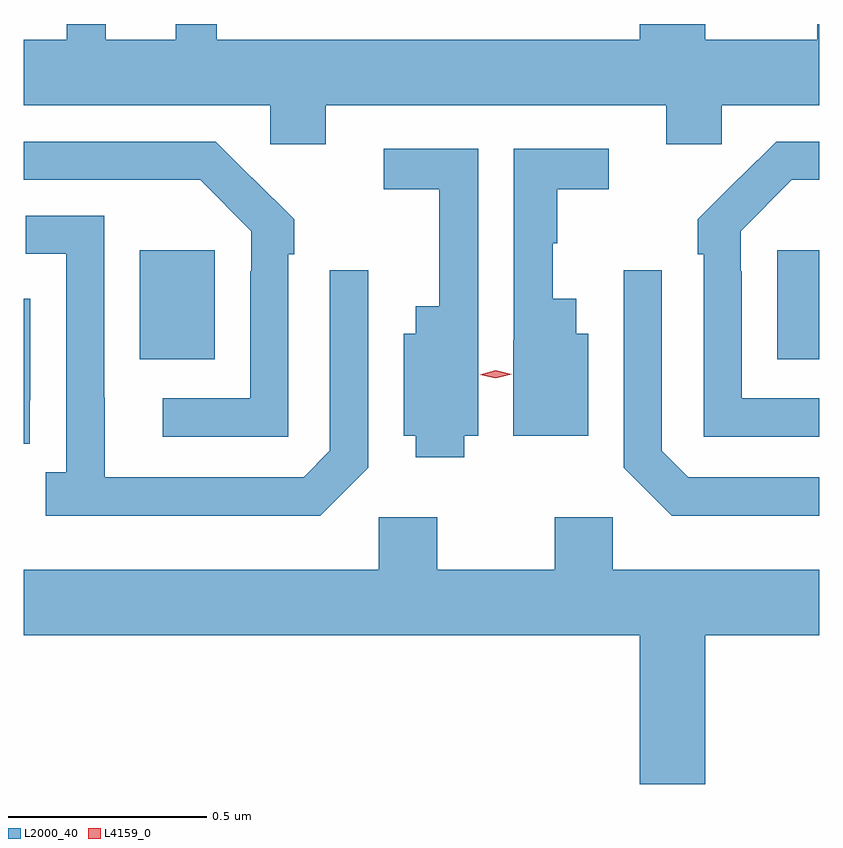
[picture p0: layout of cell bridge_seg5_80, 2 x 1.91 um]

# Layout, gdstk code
import gdstk
lib = gdstk.Library(unit=1e-6, precision=1e-09)
def R(c, l, rs):  # rectangles x0, y0, x1, y1
    for r in rs: c.add(gdstk.rectangle(r[:2], r[2:], *l))
def P(c, l, *ps):  # polygons
    for p in ps: c.add(gdstk.Polygon(p, *l))
L2000_40 = (2000, 40)
L4159_0 = (4159, 0)

bridge_seg5_80 = lib.new_cell('bridge_seg5_80')
R(bridge_seg5_80, L2000_40, [(127.787,906.737,127.975,907.012), (129.389,906.737,129.495,907.012)])
P(bridge_seg5_80, L2000_40, [(128.254,907.376),(129.11,907.376),(129.11,907.278),(129.249,907.278),(129.249,907.376),(129.495,907.376),(129.495,907.58),(129.49,907.58),(129.49,907.54),(129.208,907.54),(129.208,907.58),(129.044,907.58),(129.044,907.54),(127.981,907.54),(127.981,907.58),(127.877,907.58),(127.877,907.54),(127.702,907.54),(127.702,907.58),(127.604,907.58),(127.604,907.54),(127.495,907.54),(127.495,907.376),(128.115,907.376),(128.115,907.278),(128.254,907.278)],
  [(128.16,907.001),(128.175,907.001),(128.175,907.089),(128.07,907.194),(128.069,907.193),(127.978,907.284),(127.495,907.284),(127.495,907.188),(127.939,907.188),(128.067,907.059),(128.067,906.959),(128.064,906.959),(128.064,906.639),(127.845,906.639),(127.845,906.543),(128.16,906.543)],
  [(129.495,906.639),(129.3,906.639),(129.3,906.959),(129.297,906.959),(129.297,907.059),(129.426,907.188),(129.495,907.188),(129.495,907.284),(129.386,907.284),(129.295,907.193),(129.294,907.194),(129.189,907.089),(129.189,907.001),(129.204,907.001),(129.204,906.543),(129.495,906.543)],
  [(128.602,906.545),(128.638,906.545),(128.638,906.767),(128.637,906.767),(128.637,907.266),(128.4,907.266),(128.4,907.165),(128.54,907.165),(128.54,906.871),(128.48,906.871),(128.48,906.802),(128.45,906.802),(128.45,906.545),(128.48,906.545),(128.48,906.491),(128.602,906.491)],
  [(128.914,906.802),(128.884,906.802),(128.884,906.889),(128.825,906.889),(128.825,907.029),(128.836,907.029),(128.836,907.165),(128.965,907.165),(128.965,907.266),(128.727,907.266),(128.727,906.785),(128.726,906.785),(128.726,906.545),(128.914,906.545)],
  [(128.361,906.465),(128.361,906.961),(128.265,906.961),(128.265,906.507),(128.199,906.441),(127.699,906.441),(127.699,906.641),(127.698,906.641),(127.698,907.098),(127.5,907.098),(127.5,907.002),(127.602,907.002),(127.602,906.454),(127.551,906.454),(127.551,906.344),(128.24,906.344)],
  [(129.495,906.441),(129.165,906.441),(129.099,906.507),(129.099,906.961),(129.003,906.961),(129.003,906.465),(129.124,906.344),(129.495,906.344)],
  [(127.511,906.634),(127.512,906.634),(127.512,906.889),(127.495,906.889),(127.495,906.525),(127.511,906.525)],
  [(129.208,906.044),(129.495,906.044),(129.495,906.208),(128.976,906.208),(128.976,906.34),(128.83,906.34),(128.83,906.208),(128.535,906.208),(128.535,906.34),(128.388,906.34),(128.388,906.208),(127.495,906.208),(127.495,906.044),(129.044,906.044),(129.044,905.67),(129.208,905.67)])
P(bridge_seg5_80, L4159_0, [(128.682,906.69),(128.642,906.699),(128.642,906.699),(128.642,906.699),(128.682,906.71),(128.722,906.7),(128.722,906.7),(128.722,906.7)])

lib.write_gds('bridge_seg5_80.gds')
